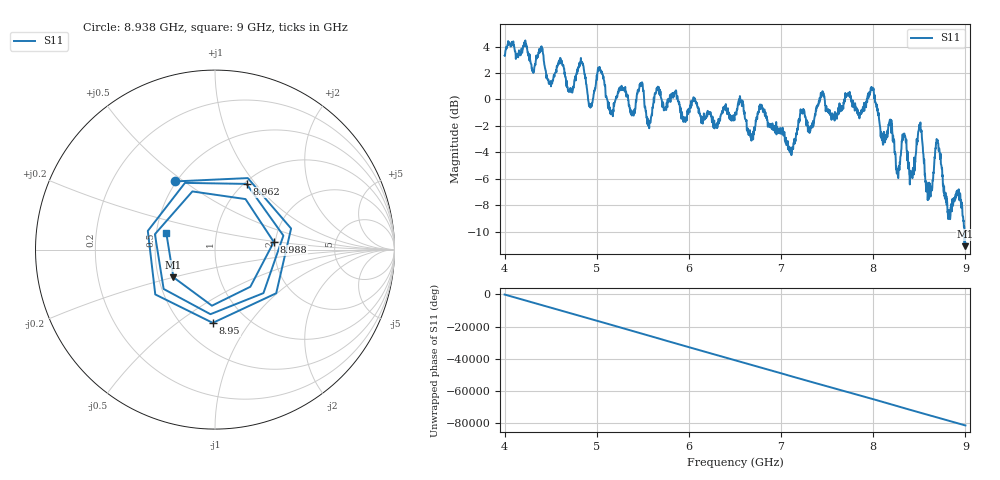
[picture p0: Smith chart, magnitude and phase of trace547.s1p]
! Created with skrf 1.8.0 (http://scikit-rf.org).
# Hz S RI R 50.0
!freq ReS11 ImS11
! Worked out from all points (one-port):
!   1601 points, 4 GHz to 9 GHz, reference 50 ohm
!   lowest |S11| = -11.1 dB at 8.997 GHz (marker M1), VSWR 1.77, Z = 29.9 - j10 ohm
!   |S11| at or under -10 dB: 8.988899 GHz to end of sweep
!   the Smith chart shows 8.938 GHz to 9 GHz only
!   S11 on the Smith chart (normalised r, x): 8.938 GHz: 0.49, +0.46; 8.95 GHz: 0.70, -0.69; 8.962 GHz: 1.03, +0.90; 8.988 GHz: 1.96, +0.19; 9 GHz: 0.57, +0.11
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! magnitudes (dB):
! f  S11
! 4 GHz  3.3
! 4.625 GHz  2.6
! 4.712 GHz  0.6
! 4.838 GHz  2.8
! 4.931 GHz  -0.6
! 5.031 GHz  2.5
! 5.156 GHz  -1.1
! 5.25 GHz  0.9
! 5.488 GHz  1.2
! 5.562 GHz  -1.8
! 5.875 GHz  0.3
! 6.5 GHz  -1.1
! 7.125 GHz  -3.7
! 7.228 GHz  -0.8
! 7.75 GHz  0.1
! 7.991 GHz  0.9
! 8.262 GHz  -5.3
! 8.375 GHz  -4.6
! 8.509 GHz  -1.9
! 8.597 GHz  -6.8
! 8.697 GHz  -3.1
! 8.812 GHz  -9.0
! 8.938 GHz  -7.1
! 8.95 GHz  -7.8
! 8.962 GHz  -7.8
! 8.988 GHz  -9.6
! 8.997 GHz  -11.1
! 9 GHz  -10.9
